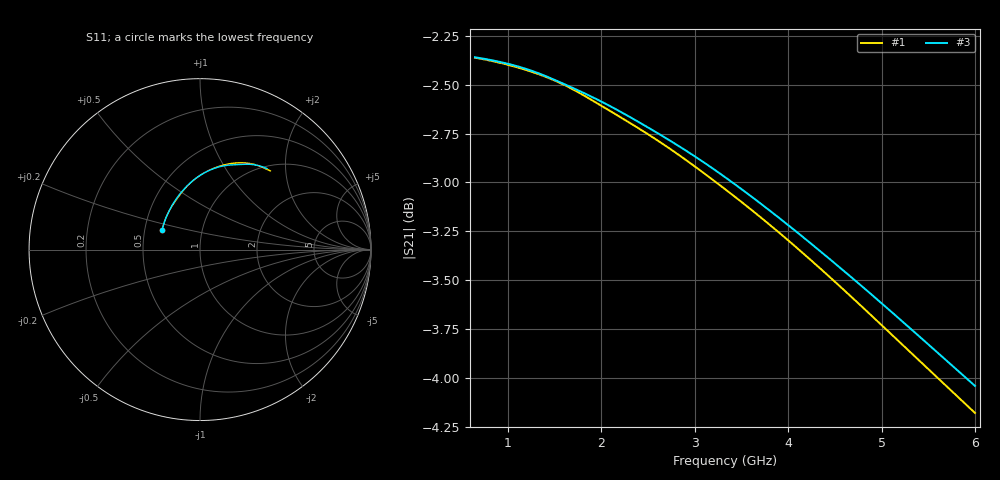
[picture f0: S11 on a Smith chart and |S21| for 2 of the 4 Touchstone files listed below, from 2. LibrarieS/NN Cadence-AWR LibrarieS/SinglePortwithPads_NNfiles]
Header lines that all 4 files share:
! IGNION VIRTUAL ANTENNA LIBRARY
! Virtual Antenna™ RUN mXTEND™: NN02-224 12.0 mm x 3.0 mm x 2.4 mm
! https://ignion.io/product/run-mxtend/
! Feeding line: L-shape; 11mm x 2mm and 5mm x 2mm
! Frequency range 0.65GHz to 6GHz, step 10MHz
! Number of ports 9
! This product and its use is protected by at least one or more of the following patents and patent
! applications US 8,203,492 B2; US 8,237,615 B2; PCT/EP2013/064692; WO 2014/012842 A1; US 2019/190122 A1;
! US 62/072,671; and other domestic and international patents pending. Additional information about
! patents related to this product is available at https://ignion.io/files/Patent-list-NN.pdf, all
! rights reserved. Copyright, Ignion 2021.
! Need more help? Your platform is much different than these examples in the manual? Use our
! Fast Track service (https://ignion.io/fast-track/), for free, and get a personalized antenna design in
! just 24 hours.
! Touchstone port 1 = "Series Port"
! Touchstone port 2 = "Shunt Port"
! Touchstone port 3 = "Series Port"
! Touchstone port 4 = "Shunt Port"
! Touchstone port 5 = "Series Port"
! Touchstone port 6 = "Shunt Port"
! Touchstone port 7 = "Series Port"
! Touchstone port 8 = "Shunt Port"
! Touchstone port 9 = "Series Port"
! IE3D S-Parameters Output Version 2.0
# GHZ S MA R 50
Fixed: Nport = 9
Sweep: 650 MHz to 6 GHz
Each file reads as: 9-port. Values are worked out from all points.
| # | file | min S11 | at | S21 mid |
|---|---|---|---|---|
| 1 | NN_RUN_B50x20_C20x11.s9p | -12.0 dB | 650 MHz | -3.0 dB at 3.33 GHz |
| 2 | NN_RUN_B50x55_C55x11.s9p | -12.0 dB | 650 MHz | -3.0 dB at 3.33 GHz |
| 3 | NN_RUN_B70x55_C55x11.s9p | -12.1 dB | 650 MHz | -3.0 dB at 3.33 GHz |
| 4 | NN_RUN_B120x60_C60x11.s9p | -12.0 dB | 650 MHz | -3.0 dB at 3.33 GHz |
